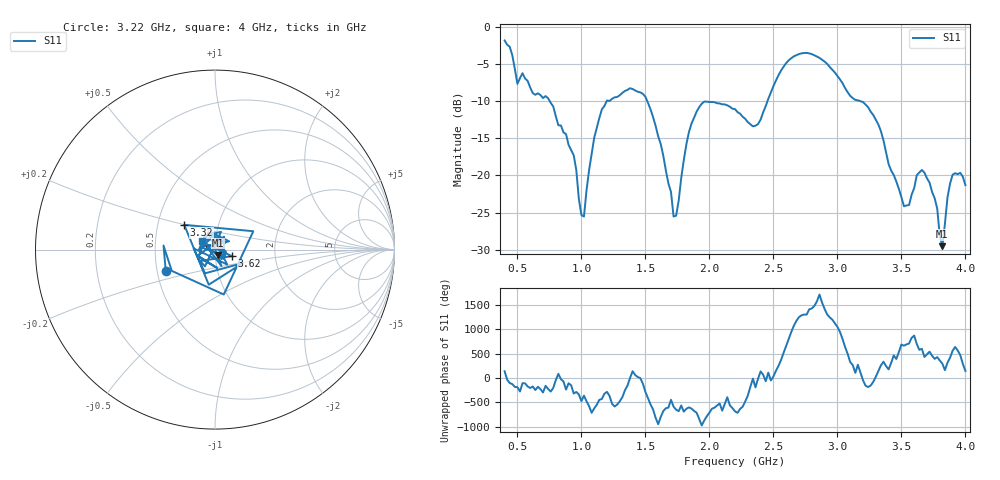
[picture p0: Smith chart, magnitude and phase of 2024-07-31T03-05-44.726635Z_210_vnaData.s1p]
!Created with skrf (http://scikit-rf.org).
# Hz S RI R 50.0
!freq ReS11 ImS11
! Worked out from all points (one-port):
!   181 points, 400 MHz to 4 GHz, reference 50 ohm
!   lowest |S11| = -29.5 dB at 3.82 GHz (marker M1), VSWR 1.07, Z = 51.4 - j3.09 ohm
!   |S11| at or under -10 dB: 752.4 MHz to 1.198 GHz (445.4 MHz wide, 45.7 % of centre); 1.514 GHz to 2.454 GHz (939.6 MHz wide, 47.4 % of centre); 3.177 GHz to end of sweep
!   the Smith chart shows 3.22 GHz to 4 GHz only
!   S11 on the Smith chart (normalised r, x): 3.22 GHz: 0.56, -0.15; 3.32 GHz: 0.68, +0.20; 3.62 GHz: 1.20, -0.09; 4 GHz: 0.86, +0.09
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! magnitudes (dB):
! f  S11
! 400 MHz  -1.8
! 500 MHz  -7.7
! 740 MHz  -9.6
! 860 MHz  -14.2
! 940 MHz  -17.3
! 1.02 GHz  -25.5
! 1.1 GHz  -14.9
! 1.16 GHz  -11.1
! 1.3 GHz  -9.2
! 1.5 GHz  -9.4
! 1.62 GHz  -15.8
! 1.72 GHz  -25.5
! 1.76 GHz  -23.4
! 1.84 GHz  -14.2
! 1.92 GHz  -10.8
! 2.2 GHz  -11.1
! 2.38 GHz  -13.1
! 2.66 GHz  -4.0
! 2.86 GHz  -4.2
! 3.1 GHz  -9.3
! 3.22 GHz  -10.5
! 3.32 GHz  -13.1
! 3.56 GHz  -24.0
! 3.62 GHz  -20.0
! 3.72 GHz  -21.0
! 3.82 GHz  -29.5
! 3.9 GHz  -19.9
! 4 GHz  -21.3
